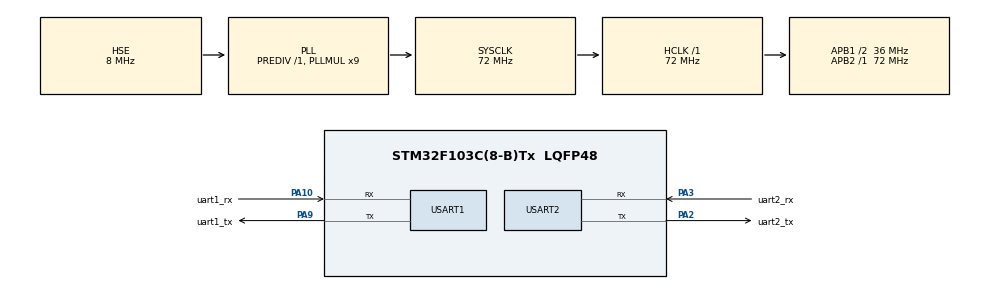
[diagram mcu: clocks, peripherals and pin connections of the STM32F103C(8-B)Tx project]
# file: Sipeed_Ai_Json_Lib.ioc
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Mcu.Family=STM32F1
Mcu.Name=STM32F103C(8-B)Tx
Mcu.Package=LQFP48
NVIC.PriorityGroup=NVIC_PRIORITYGROUP_4
NVIC.USART2_IRQn=true\:0\:0\:false\:false\:true\:true\:true
PA10.GPIO_Label=uart1_rx
PA10.Mode=Multiprocessor_communication
PA10.Signal=USART1_RX
PA13.Mode=Serial_Wire
PA13.Signal=SYS_JTMS-SWDIO
PA14.Mode=Serial_Wire
PA14.Signal=SYS_JTCK-SWCLK
PA2.GPIO_Label=uart2_tx
PA2.Mode=Multiprocessor_communication
PA2.Signal=USART2_TX
PA3.GPIO_Label=uart2_rx
PA3.Mode=Multiprocessor_communication
PA3.Signal=USART2_RX
PA9.GPIO_Label=uart1_tx
PA9.Mode=Multiprocessor_communication
PA9.Signal=USART1_TX
PD0-OSC_IN.Mode=HSE-External-Oscillator
PD0-OSC_IN.Signal=RCC_OSC_IN
PD1-OSC_OUT.Mode=HSE-External-Oscillator
PD1-OSC_OUT.Signal=RCC_OSC_OUT
ProjectManager.HeapSize=0x200
ProjectManager.StackSize=0x400
ProjectManager.TargetToolchain=MDK-ARM V5
RCC.AHBFreq_Value=72000000
RCC.APB1CLKDivider=RCC_HCLK_DIV2
RCC.APB1Freq_Value=36000000
RCC.APB1TimFreq_Value=72000000
RCC.APB2Freq_Value=72000000
RCC.APB2TimFreq_Value=72000000
RCC.HCLKFreq_Value=72000000
RCC.PLLMUL=RCC_PLL_MUL9
RCC.PLLSourceVirtual=RCC_PLLSOURCE_HSE
RCC.SYSCLKFreq_VALUE=72000000
RCC.SYSCLKSource=RCC_SYSCLKSOURCE_PLLCLK
RCC.USBFreq_Value=72000000
USART1.VirtualMode=VM_ASYNC
USART2.VirtualMode=VM_ASYNC
board=custom

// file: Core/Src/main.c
/* USER CODE BEGIN Header */
/**
  ******************************************************************************
  * @file           : main.c
  * @brief          : Main program body
  ******************************************************************************
  * @attention
  *
  * <h2><center>&copy; Copyright (c) 2019 STMicroelectronics.
  * All rights reserved.</center></h2>
  *
  * This software component is licensed by ST under BSD 3-Clause license,
  * the "License"; You may not use this file except in compliance with the
  * License. You may obtain a copy of the License at:
  *                        opensource.org/licenses/BSD-3-Clause
  *
  ******************************************************************************
  */
/* USER CODE END Header */

#include "main.h"
#include "usart.h"
#include "gpio.h"

/* USER CODE BEGIN Includes */
#include "string.h"
#include "protocol.h"

/* USER CODE END Includes */

void SystemClock_Config(void);

/* USER CODE BEGIN 0 */

/* for printf */
int fputc(int ch, FILE *f)
{
    uint8_t temp[1] = {ch};
    HAL_UART_Transmit(&huart1, temp, 1, 2);
    return 0;
}

int protocol_prase_callback(void *cb_data)
{
    pkt_callback_t *pkt = (pkt_callback_t*)cb_data;

    printf("type:%s\r\n", protocol_str[pkt->cb_type]);

    switch (pkt->cb_type)
    {
        case PROTOCOL_TYPE_INIT_DONE:
            {
                printf("module init!\r\n");
            }
            break;
        case PROTOCOL_TYPE_SET_CONFIG_RET:
            {
                printf("code:%d\r\n", pkt->code);
                printf("msg:%s\r\n", pkt->msg);
                //需要判断code
                printf("set module success!\r\n");
            }
            break;
        case PROTOCOL_TYPE_GET_CONFIG_RET:
            {
                brd_cfg *board_cfg = (brd_cfg*)pkt->ctx;

                if (board_cfg == NULL)
                {
                    printf("%d board_cfg is null\r\n", __LINE__);
                    break;
                }
                printf("uart_baud: %d\r\n", board_cfg->uart_baud);
                printf("open_delay: %d\r\n", board_cfg->open_delay);
                printf("pkt_fix: %d\r\n", board_cfg->pkt_fix);

                printf("out_feature: %d\r\n", board_cfg->out_feature);
                printf("out_interval_in_ms: %d\r\n", board_cfg->out_interval_in_ms);
                printf("auto_out_feature: %d\r\n", board_cfg->auto_out_feature);
            }
            break;
        case PROTOCOL_TYPE_CAL_PIC_FEA_RET:
            {
                pic_fea_t *pic_fea = (pic_fea_t *)pkt->ctx;;

                //TODO: 判断code，是否可以发送，以及错误处理
                printf("cal jpeg file:\r\n");
                if (pic_fea->uid_len)
                {
                    printf("uid:");
                    for (uint8_t i = 0; i < pic_fea->uid_len; i++)
                    {
                        printf("%02X", pic_fea->uid[i]);
                    }
                    printf("\r\n");
                }
                else
                {
                    printf("uid:null\r\n");
                }

                if (pic_fea->fea_len)
                {
                    printf("feature:");
                    for (uint8_t i = 0; i < 32/*face_info->fea_len*/; i++)
                    {
                        printf("%02X", pic_fea->feature[i]);
                    }
                    printf("\r\n");
                }
                else
                {
                    printf("feature:null\r\n");
                }
            }
            break;
        case PROTOCOL_TYPE_DEL_BY_UID_RET:
            {
                //TODO: 判断code，是否可以发送，以及错误处理
                printf("code:%d\r\n", pkt->code);
                printf("msg:%s\r\n", pkt->msg);
            }
            break;
        case PROTOCOL_TYPE_QUERY_FACE_INFO_RET:
            {
                qurey_face_ret_t *query_face = (qurey_face_ret_t *)pkt->ctx;

                if (query_face == NULL)
                {
                    printf("%d query_face is null\r\n", __LINE__);
                    break;
                }

                printf("total: %d\r\n", query_face->total);
                printf("start: %d\r\n", query_face->start);
                printf("end: %d\r\n", query_face->end);

                printf("face_num: %d\r\n", query_face->face_infos.face_num);

                for (uint8_t i = 0; i < query_face->face_infos.face_num; i++)
                {
                    printf("[%04d]: uid:", i);
                    for (uint8_t j = 0; j < 16; j++)
                    {
                        printf("%02X", query_face->face_infos.face_info[i]->uid[j]);
                    }
                    printf("\r\n");

                    printf("[%04d]: feature_len:%d\t", i, query_face->face_infos.face_info[i]->fea_len);
                    for (uint8_t k = 0; k < 16; k++)
                    {
                        printf("%02X", query_face->face_infos.face_info[i]->fea[k]);
                    }
                    printf("\r\n");
                }
            }
            break;
        case PROTOCOL_TYPE_FACE_INFO:
            {
                face_info_t *face_info = (face_info_t *)pkt->ctx;
                if (face_info == NULL)
                {
                    printf("%d face_info is null\r\n", __LINE__);
                    break;
                }
                printf("pic_no:%s\r\n", face_info->pic_no);
                printf("total:%d\r\n", face_info->total);
                printf("current:%d\r\n", face_info->current);
                printf("x1:%d\r\n", face_info->x1);
                printf("y1:%d\r\n", face_info->y1);
                printf("x2:%d\r\n", face_info->x2);
                printf("y2:%d\r\n", face_info->y2);
                printf("score:%f\r\n", face_info->score);

                if (face_info->uid_len)
                {
                    printf("uid:");
                    for (uint8_t i = 0; i < face_info->uid_len; i++)
                    {
                        printf("%02X", face_info->uid[i]);
                    }
                    printf("\r\n");
                }
                else
                {
                    printf("uid:null\r\n");
                }

                if (face_info->fea_len)
                {
                    printf("feature:");
                    for (uint8_t i = 0; i < 32/*face_info->fea_len*/; i++)
                    {
                        printf("%02X", face_info->fea[i]);
                    }
                    printf("\r\n");
                }
                else
                {
                    printf("feature:null\r\n");
                }
            }
            break;
        default:
            {
                printf("unknown cmd??? %d\r\n", pkt->cb_type);
            }
            break;
    }
    return 0;
}
/* USER CODE END 0 */

int main(void)
{

    /* MCU Configuration--------------------------------------------------------*/

    /* Reset of all peripherals, Initializes the Flash interface and the Systick. */
    HAL_Init();

    /* Configure the system clock */
    SystemClock_Config();

    /* Initialize all configured peripherals */
    MX_GPIO_Init();
    MX_USART1_UART_Init();
    MX_USART2_UART_Init();
    /* USER CODE BEGIN 2 */

    printf("init\r\n");
    /* USER CODE END 2 */

    protocol_init();
    protocol_register_cb(protocol_prase_callback);

    HAL_UART_Transmit(&huart2, (uint8_t *)"hello\r\n", strlen("hello\r\n"), 20);
    HAL_UART_Receive_IT(&huart2, (uint8_t *)&uart_recv_char, 1); /* 开启串口2 接受中断 */

///////////////////////////////////////////////////////////////////////////////////////////////////////////////////////
    recv_over_flag = 0;
//    protocol_send_get_cfg();//get cfg
///////////////////////////////////////////////////////////////////////////////////////////////////////////////////////
		protocol_send_query_face(1,0,1,1);
    /* Infinite loop */
    while (1)
    {
        if (recv_over_flag)
        {
            protocol_prase();
            recv_over_flag = 0;
            HAL_UART_Receive_IT(&huart2, (uint8_t *)&uart_recv_char, 1); /* 开启串口2 接受中断 */
        }
    }
}

void SystemClock_Config(void)
{
    RCC_OscInitTypeDef RCC_OscInitStruct = {0};
    RCC_ClkInitTypeDef RCC_ClkInitStruct = {0};

    /** Initializes the CPU, AHB and APB busses clocks
    */
    RCC_OscInitStruct.OscillatorType = RCC_OSCILLATORTYPE_HSE;
    RCC_OscInitStruct.HSEState = RCC_HSE_ON;
    RCC_OscInitStruct.HSEPredivValue = RCC_HSE_PREDIV_DIV1;
    RCC_OscInitStruct.HSIState = RCC_HSI_ON;
    RCC_OscInitStruct.PLL.PLLState = RCC_PLL_ON;
    RCC_OscInitStruct.PLL.PLLSource = RCC_PLLSOURCE_HSE;
    RCC_OscInitStruct.PLL.PLLMUL = RCC_PLL_MUL9;
    if (HAL_RCC_OscConfig(&RCC_OscInitStruct) != HAL_OK)
    {
        Error_Handler();
    }
    /** Initializes the CPU, AHB and APB busses clocks
    */
    RCC_ClkInitStruct.ClockType = RCC_CLOCKTYPE_HCLK | RCC_CLOCKTYPE_SYSCLK
                                  | RCC_CLOCKTYPE_PCLK1 | RCC_CLOCKTYPE_PCLK2;
    RCC_ClkInitStruct.SYSCLKSource = RCC_SYSCLKSOURCE_PLLCLK;
    RCC_ClkInitStruct.AHBCLKDivider = RCC_SYSCLK_DIV1;
    RCC_ClkInitStruct.APB1CLKDivider = RCC_HCLK_DIV2;
    RCC_ClkInitStruct.APB2CLKDivider = RCC_HCLK_DIV1;

    if (HAL_RCC_ClockConfig(&RCC_ClkInitStruct, FLASH_LATENCY_2) != HAL_OK)
    {
        Error_Handler();
    }
}

void Error_Handler(void)
{
}

/************************ (C) COPYRIGHT STMicroelectronics *****END OF FILE****/
